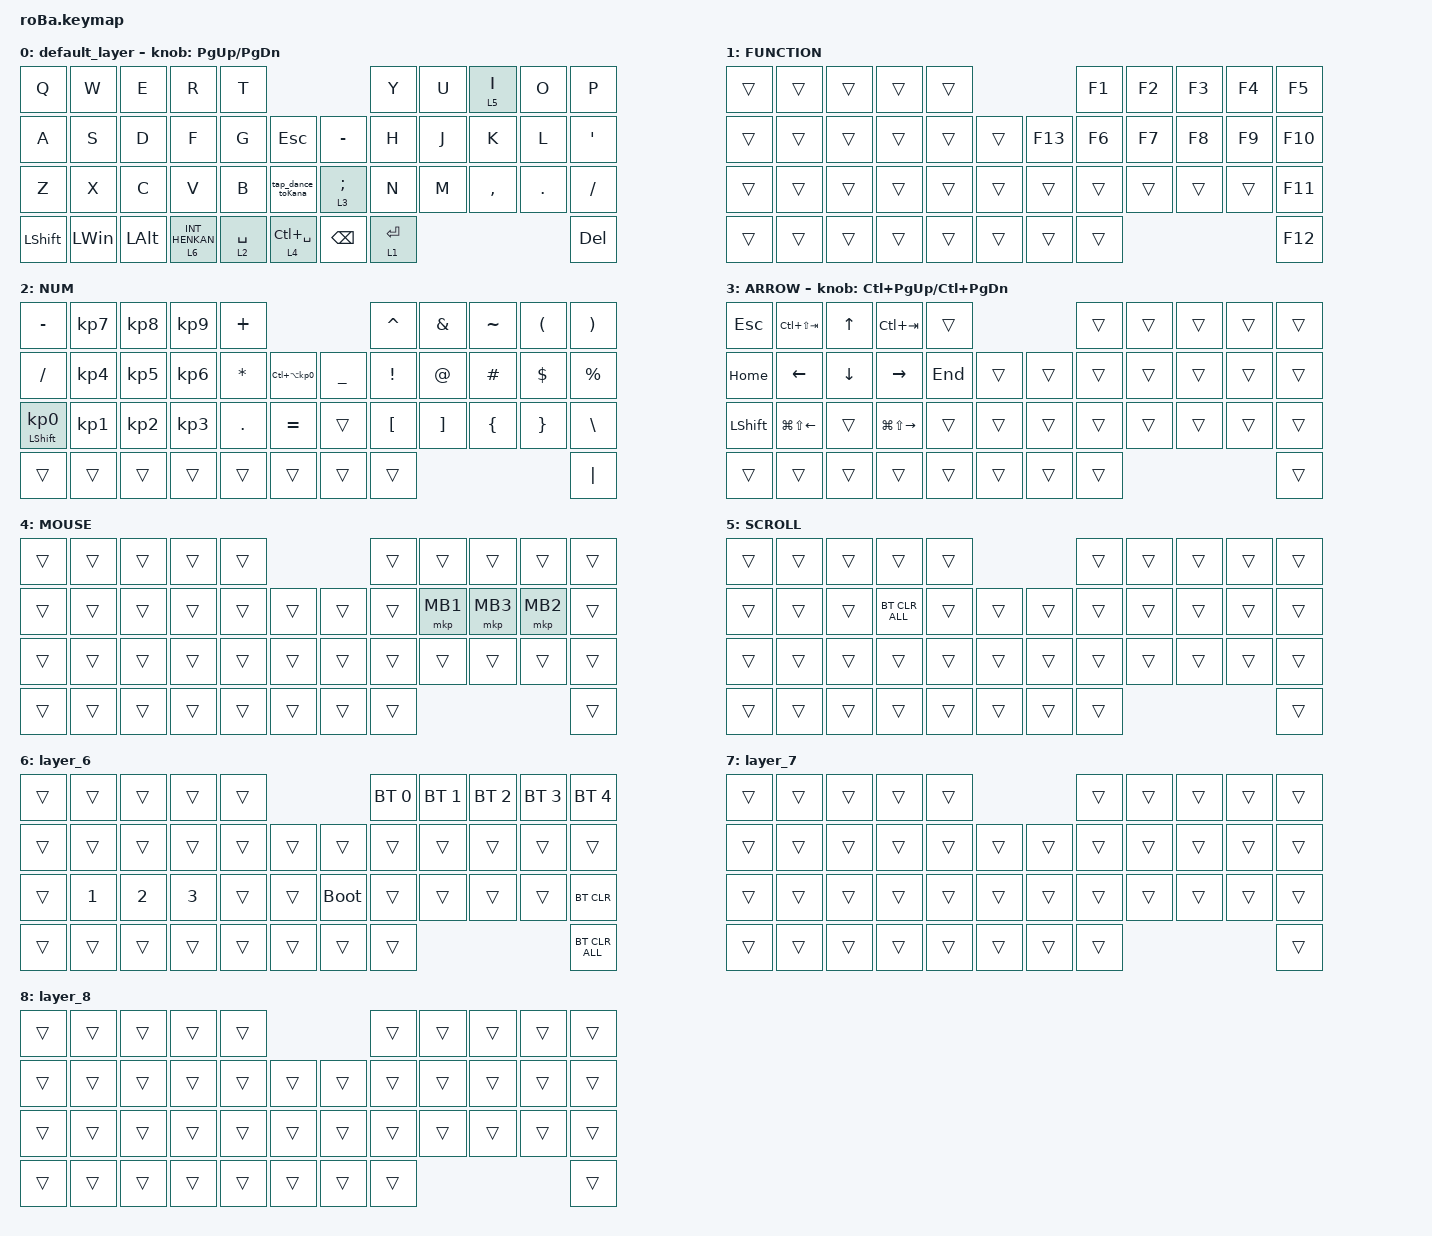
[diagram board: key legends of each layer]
#include <behaviors.dtsi>
#include <dt-bindings/zmk/bt.h>
#include <dt-bindings/zmk/keys.h>
#include <dt-bindings/zmk/pointing.h>

&mt {
    flavor = "balanced";
    quick-tap-ms = <0>;
};

/ {
    combos {
        compatible = "zmk,combos";

        tab {
            bindings = <&kp TAB>;
            key-positions = <11 12>;
        };

        shift_tab {
            bindings = <&kp LS(TAB)>;
            key-positions = <12 13>;
        };

        muhennkann {
            bindings = <&to_layer_0 INT_MUHENKAN>;
            key-positions = <11 10>;
        };

        double_quotation {
            bindings = <&kp DOUBLE_QUOTES>;
            key-positions = <20 21>;
        };

        eq {
            bindings = <&kp EQUAL>;
            key-positions = <24 25>;
        };
    };

    macros {
        to_layer_0: to_layer_0 {
            compatible = "zmk,behavior-macro-one-param";
            #binding-cells = <1>;
            bindings = <&to 0 &macro_param_1to1 &kp MACRO_PLACEHOLDER>;
            label = "TO_LAYER_0";
        };
    };

    behaviors {
        lt_to_layer_0: lt_to_layer_0 {
            compatible = "zmk,behavior-hold-tap";
            label = "LAYER_TAP_TO_0";
            bindings = <&mo>, <&to_layer_0>;

            #binding-cells = <2>;
            tapping-term-ms = <200>;
        };

        tap_dance_toKana: tap_dance_toKana {
            compatible = "zmk,behavior-tap-dance";
            label = "TAP_DANCE_TOKANA";
            #binding-cells = <0>;
            bindings = <&kp LANGUAGE_4>, <&kp LANGUAGE_2>;

            tapping-term-ms = <400>;
        };
    };

    keymap {
        compatible = "zmk,keymap";

        default_layer {
            bindings = <
&kp Q       &kp W         &kp E         &kp R                        &kp T                                              &kp Y        &kp U  &lt 5 I    &kp O    &kp P
&kp A       &kp S         &kp D         &kp F                        &kp G        &kp ESC                &kp MINUS      &kp H        &kp J  &kp K      &kp L    &kp SQT
&kp Z       &kp X         &kp C         &kp V                        &kp B        &tap_dance_toKana      &lt 3 SEMI     &kp N        &kp M  &kp COMMA  &kp DOT  &kp SLASH
&kp LSHIFT  &kp LEFT_WIN  &kp LEFT_ALT  &lt_to_layer_0 6 INT_HENKAN  &lt 2 SPACE  &lt 4 LC(SPACE)        &kp BACKSPACE  &lt 1 ENTER                             &kp DEL
            >;

            sensor-bindings = <&inc_dec_kp PG_UP PAGE_DOWN>;
        };

        FUNCTION {
            bindings = <
&trans  &trans  &trans  &trans  &trans                       &kp F1  &kp F2  &kp F3  &kp F4  &kp F5
&trans  &trans  &trans  &trans  &trans  &trans      &kp F13  &kp F6  &kp F7  &kp F8  &kp F9  &kp F10
&trans  &trans  &trans  &trans  &trans  &trans      &trans   &trans  &trans  &trans  &trans  &kp F11
&trans  &trans  &trans  &trans  &trans  &trans      &trans   &trans                          &kp F12
            >;
        };

        NUM {
            bindings = <
&kp MINUS                   &kp KP_NUMBER_7  &kp KP_NUMBER_8  &kp KP_NUMBER_9  &kp PLUS                                                   &kp CARET         &kp AMPERSAND      &kp TILDE       &kp LEFT_PARENTHESIS  &kp RIGHT_PARENTHESIS
&kp SLASH                   &kp KP_NUMBER_4  &kp KP_NUMBER_5  &kp KP_NUMBER_6  &kp ASTERISK  &kp LC(LA(KP_NUMBER_0))      &kp UNDERSCORE  &kp EXCLAMATION   &kp AT_SIGN        &kp HASH        &kp DOLLAR            &kp PERCENT
&mt LEFT_SHIFT KP_NUMBER_0  &kp KP_NUMBER_1  &kp KP_NUMBER_2  &kp KP_NUMBER_3  &kp PERIOD    &kp EQUAL                    &trans          &kp LEFT_BRACKET  &kp RIGHT_BRACKET  &kp LEFT_BRACE  &kp RIGHT_BRACE       &kp BACKSLASH
&trans                      &trans           &trans           &trans           &trans        &trans                       &trans          &trans                                                                     &kp PIPE
            >;
        };

        ARROW {
            bindings = <
&kp ESCAPE      &kp LC(LS(TAB))         &kp UP_ARROW    &kp LC(TAB)              &trans                       &trans  &trans  &trans  &trans  &trans
&kp HOME        &kp LEFT_ARROW          &kp DOWN_ARROW  &kp RIGHT_ARROW          &kp END  &trans      &trans  &trans  &trans  &trans  &trans  &trans
&kp LEFT_SHIFT  &kp LG(LS(LEFT_ARROW))  &trans          &kp LG(LS(RIGHT_ARROW))  &trans   &trans      &trans  &trans  &trans  &trans  &trans  &trans
&trans          &trans                  &trans          &trans                   &trans   &trans      &trans  &trans                          &trans
            >;

            sensor-bindings = <&inc_dec_kp LC(PAGE_UP) LC(PAGE_DOWN)>;
        };

        MOUSE {
            bindings = <
&trans  &trans  &trans  &trans  &trans                      &trans  &trans    &trans    &trans    &trans
&trans  &trans  &trans  &trans  &trans  &trans      &trans  &trans  &mkp MB1  &mkp MB3  &mkp MB2  &trans
&trans  &trans  &trans  &trans  &trans  &trans      &trans  &trans  &trans    &trans    &trans    &trans
&trans  &trans  &trans  &trans  &trans  &trans      &trans  &trans                                &trans
            >;
        };

        SCROLL {
            bindings = <
&trans  &trans  &trans  &trans          &trans                      &trans  &trans  &trans  &trans  &trans
&trans  &trans  &trans  &bt BT_CLR_ALL  &trans  &trans      &trans  &trans  &trans  &trans  &trans  &trans
&trans  &trans  &trans  &trans          &trans  &trans      &trans  &trans  &trans  &trans  &trans  &trans
&trans  &trans  &trans  &trans          &trans  &trans      &trans  &trans                          &trans
            >;
        };

        layer_6 {
            bindings = <
&trans  &trans        &trans        &trans        &trans                           &bt BT_SEL 0  &bt BT_SEL 1  &bt BT_SEL 2  &bt BT_SEL 3  &bt BT_SEL 4
&trans  &trans        &trans        &trans        &trans  &trans      &trans       &trans        &trans        &trans        &trans        &trans
&trans  &kp NUMBER_1  &kp NUMBER_2  &kp NUMBER_3  &trans  &trans      &bootloader  &trans        &trans        &trans        &trans        &bt BT_CLR
&trans  &trans        &trans        &trans        &trans  &trans      &trans       &trans                                                  &bt BT_CLR_ALL
            >;
        };

        layer_7 {
            bindings = <
&trans  &trans  &trans  &trans  &trans                      &trans  &trans  &trans  &trans  &trans
&trans  &trans  &trans  &trans  &trans  &trans      &trans  &trans  &trans  &trans  &trans  &trans
&trans  &trans  &trans  &trans  &trans  &trans      &trans  &trans  &trans  &trans  &trans  &trans
&trans  &trans  &trans  &trans  &trans  &trans      &trans  &trans                          &trans
            >;
        };

        layer_8 {
            bindings = <
&trans  &trans  &trans  &trans  &trans                      &trans  &trans  &trans  &trans  &trans
&trans  &trans  &trans  &trans  &trans  &trans      &trans  &trans  &trans  &trans  &trans  &trans
&trans  &trans  &trans  &trans  &trans  &trans      &trans  &trans  &trans  &trans  &trans  &trans
&trans  &trans  &trans  &trans  &trans  &trans      &trans  &trans                          &trans
            >;
        };
    };
};
